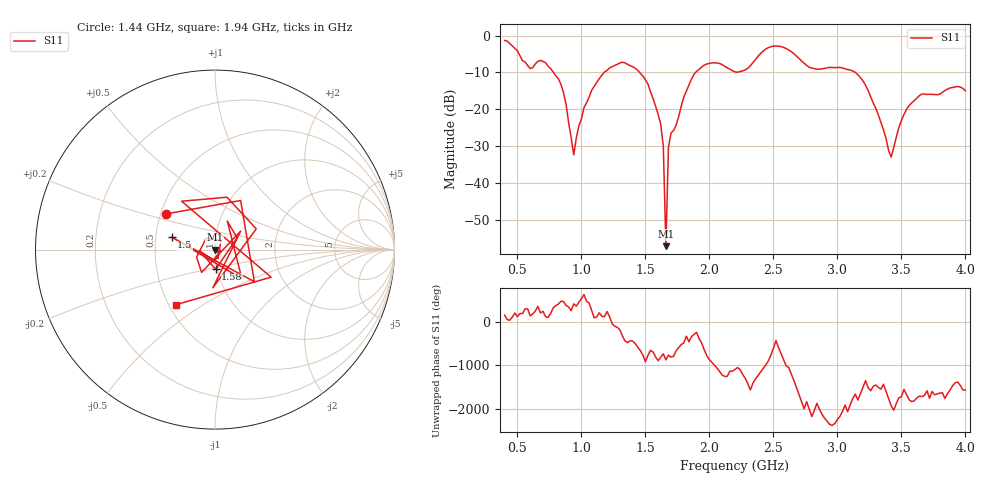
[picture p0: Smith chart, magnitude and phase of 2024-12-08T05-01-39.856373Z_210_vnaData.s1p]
!Created with skrf (http://scikit-rf.org).
# Hz S RI R 50.0
!freq ReS11 ImS11
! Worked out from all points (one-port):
!   181 points, 400 MHz to 4 GHz, reference 50 ohm
!   lowest |S11| = -57.0 dB at 1.66 GHz (marker M1), VSWR 1.00, Z = 49.9 - j0.0644 ohm
!   |S11| at or under -10 dB: 781.1 MHz to 1.178 GHz (396.5 MHz wide, 40.5 % of centre); 1.455 GHz to 1.892 GHz (437.6 MHz wide, 26.1 % of centre); 3.141 GHz to end of sweep
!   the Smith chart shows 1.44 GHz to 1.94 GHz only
!   S11 on the Smith chart (normalised r, x): 1.44 GHz: 0.53, +0.24; 1.5 GHz: 0.61, +0.09; 1.58 GHz: 0.98, -0.22; 1.94 GHz: 0.55, -0.39
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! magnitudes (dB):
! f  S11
! 400 MHz  -1.3
! 600 MHz  -8.9
! 720 MHz  -7.4
! 860 MHz  -15.4
! 940 MHz  -32.3
! 980 MHz  -24.5
! 1.08 GHz  -14.8
! 1.3 GHz  -7.4
! 1.44 GHz  -9.4
! 1.5 GHz  -12.0
! 1.58 GHz  -19.2
! 1.62 GHz  -24.1
! 1.64 GHz  -30.1
! 1.66 GHz  -57.0
! 1.68 GHz  -30.4
! 1.76 GHz  -22.0
! 1.86 GHz  -11.8
! 1.94 GHz  -8.5
! 2.2 GHz  -9.9
! 2.48 GHz  -3.0
! 2.66 GHz  -4.9
! 2.8 GHz  -8.8
! 3.1 GHz  -9.3
! 3.24 GHz  -14.9
! 3.42 GHz  -32.9
! 3.56 GHz  -19.0
! 3.66 GHz  -15.9
! 4 GHz  -15.0
